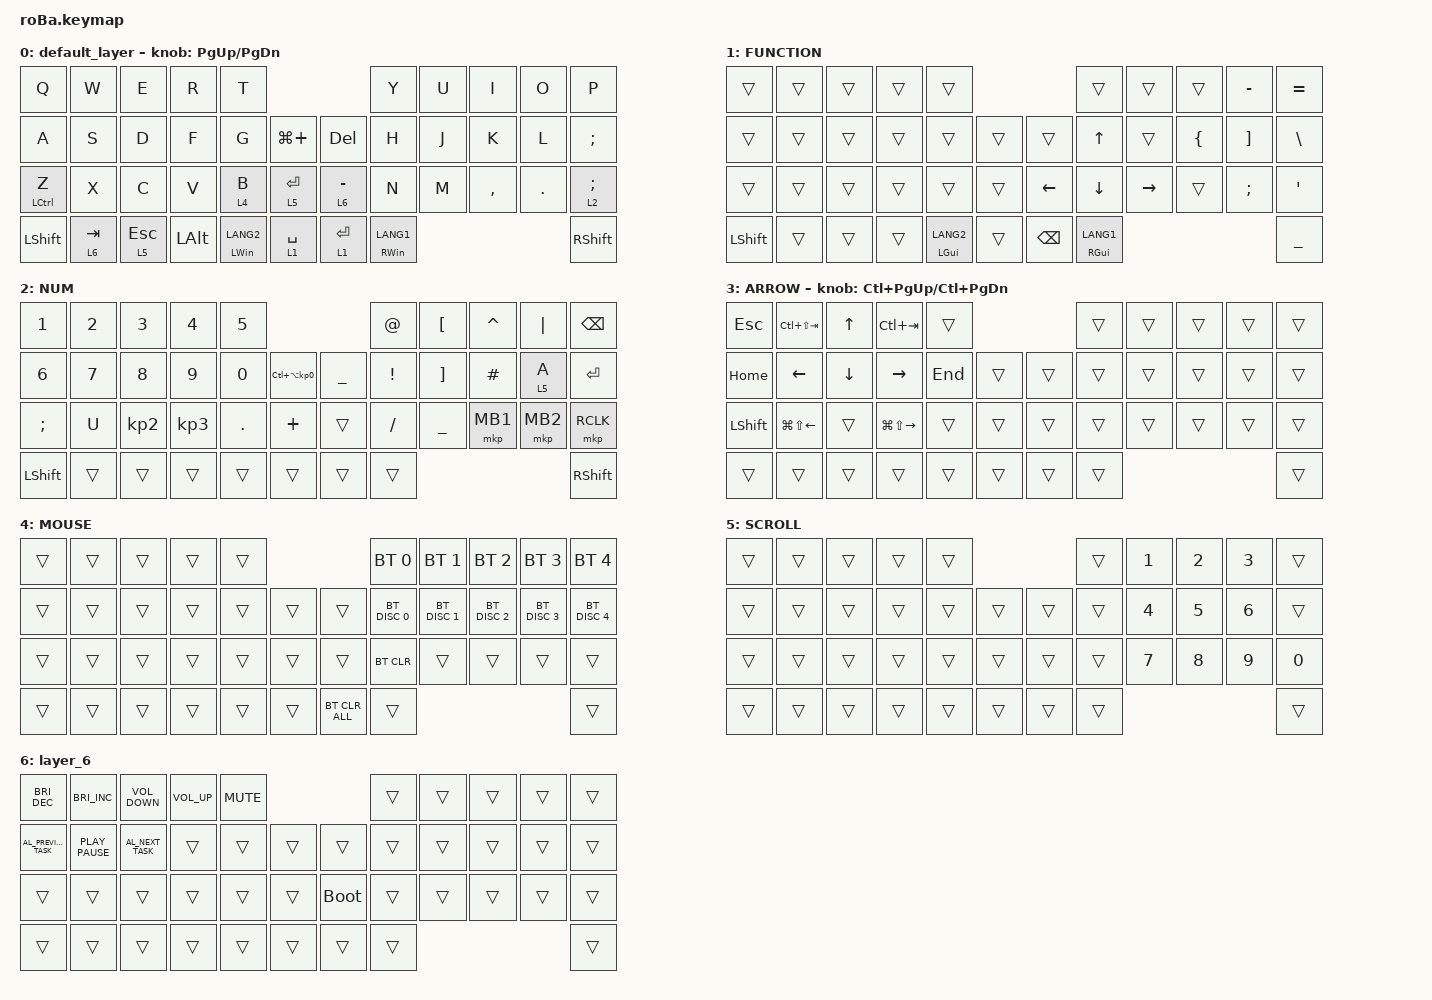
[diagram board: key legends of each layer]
#include <behaviors.dtsi>
#include <dt-bindings/zmk/bt.h>
#include <dt-bindings/zmk/keys.h>
#include <dt-bindings/zmk/pointing.h>

&mt {
    flavor = "balanced";
    quick-tap-ms = <0>;
};

&trackball {
    automouse-layer = <4>;
    scroll-layers = <5>;

    // arrows {
    //     layers = <3>;
    //     bindings =
    //         <&kp RIGHT_ARROW>,
    //         <&kp LEFT_ARROW>,
    //         <&kp UP_ARROW>,
    //         <&kp DOWN_ARROW>;
    //     tick = <10>;
    //     wait-ms = <5>;
    //     tap-ms = <5>;
    // };
};

/ {
    combos {
        compatible = "zmk,combos";

        tab {
            bindings = <&kp TAB>;
            key-positions = <11 12>;
        };

        shift_tab {
            bindings = <&kp LS(TAB)>;
            key-positions = <12 13>;
        };

        muhennkann {
            bindings = <&to_layer_0 INT_MUHENKAN>;
            key-positions = <11 10>;
        };

        double_quotation {
            bindings = <&kp DOUBLE_QUOTES>;
            key-positions = <20 21>;
        };

        eq {
            bindings = <&kp EQUAL>;
            key-positions = <24 25>;
        };
    };

    macros {
        to_layer_0: to_layer_0 {
            compatible = "zmk,behavior-macro-one-param";
            #binding-cells = <1>;
            bindings = <&to 0 &macro_param_1to1 &kp MACRO_PLACEHOLDER>;
            label = "TO_LAYER_0";
        };
    };

    behaviors {
        lt_to_layer_0: lt_to_layer_0 {
            compatible = "zmk,behavior-hold-tap";
            label = "LAYER_TAP_TO_0";
            bindings = <&mo>, <&to_layer_0>;

            #binding-cells = <2>;
            tapping-term-ms = <200>;
        };
    };

    keymap {
        compatible = "zmk,keymap";

        default_layer {
            bindings = <
&kp Q               &kp W      &kp E      &kp R         &kp T                                              &kp Y                &kp U  &kp I      &kp O    &kp P
&kp A               &kp S      &kp D      &kp F         &kp G               &kp LG(PLUS)      &kp DELETE   &kp H                &kp J  &kp K      &kp L    &kp SEMICOLON
&mt LEFT_CONTROL Z  &kp X      &kp C      &kp V         &lt 4 B             &lt 5 RET         &lt 6 MINUS  &kp N                &kp M  &kp COMMA  &kp DOT  &lt 2 SEMICOLON
&kp LEFT_SHIFT      &lt 6 TAB  &lt 5 ESC  &kp LEFT_ALT  &mt LEFT_WIN LANG2  &lt 1 SPACE       &lt 1 ENTER  &mt RIGHT_WIN LANG1                             &kp RIGHT_SHIFT
            >;

            sensor-bindings = <&inc_dec_kp PG_UP PAGE_DOWN>;
        };

        FUNCTION {
            bindings = <
&trans          &trans  &trans  &trans  &trans                                         &trans               &trans     &trans          &kp MINUS          &kp EQUAL
&trans          &trans  &trans  &trans  &trans              &trans      &trans         &kp UP               &trans     &kp LEFT_BRACE  &kp RIGHT_BRACKET  &kp BACKSLASH
&trans          &trans  &trans  &trans  &trans              &trans      &kp LEFT       &kp DOWN_ARROW       &kp RIGHT  &trans          &kp SEMICOLON      &kp APOS
&kp LEFT_SHIFT  &trans  &trans  &trans  &mt LEFT_GUI LANG2  &trans      &kp BACKSPACE  &mt RIGHT_GUI LANG1                                                &kp UNDERSCORE
            >;
        };

        NUM {
            bindings = <
&kp NUMBER_1    &kp NUMBER_2  &kp NUMBER_3     &kp NUMBER_4     &kp N5                                                   &kp AT_SIGN      &kp LEFT_BRACKET   &kp CARET  &kp PIPE  &kp BACKSPACE
&kp NUMBER_6    &kp N7        &kp N8           &kp N9           &kp N0      &kp LC(LA(KP_NUMBER_0))      &kp UNDERSCORE  &kp EXCLAMATION  &kp RIGHT_BRACKET  &kp HASH   &lt 5 A   &kp ENTER
&kp SEMICOLON   &kp U         &kp KP_NUMBER_2  &kp KP_NUMBER_3  &kp PERIOD  &kp PLUS                     &trans          &kp SLASH        &kp UNDERSCORE     &mkp MB1   &mkp MB2  &mkp RCLK
&kp LEFT_SHIFT  &trans        &trans           &trans           &trans      &trans                       &trans          &trans                                                   &kp RIGHT_SHIFT
            >;
        };

        ARROW {
            bindings = <
&kp ESCAPE      &kp LC(LS(TAB))         &kp UP_ARROW    &kp LC(TAB)              &trans                       &trans  &trans  &trans  &trans  &trans
&kp HOME        &kp LEFT_ARROW          &kp DOWN_ARROW  &kp RIGHT_ARROW          &kp END  &trans      &trans  &trans  &trans  &trans  &trans  &trans
&kp LEFT_SHIFT  &kp LG(LS(LEFT_ARROW))  &trans          &kp LG(LS(RIGHT_ARROW))  &trans   &trans      &trans  &trans  &trans  &trans  &trans  &trans
&trans          &trans                  &trans          &trans                   &trans   &trans      &trans  &trans                          &trans
            >;

            sensor-bindings = <&inc_dec_kp LC(PAGE_UP) LC(PAGE_DOWN)>;
        };

        MOUSE {
            bindings = <
&trans  &trans  &trans  &trans  &trans                              &bt BT_SEL 0   &bt BT_SEL 1   &bt BT_SEL 2   &bt BT_SEL 3   &bt BT_SEL 4
&trans  &trans  &trans  &trans  &trans  &trans      &trans          &bt BT_DISC 0  &bt BT_DISC 1  &bt BT_DISC 2  &bt BT_DISC 3  &bt BT_DISC 4
&trans  &trans  &trans  &trans  &trans  &trans      &trans          &bt BT_CLR     &trans         &trans         &trans         &trans
&trans  &trans  &trans  &trans  &trans  &trans      &bt BT_CLR_ALL  &trans                                                      &trans
            >;
        };

        SCROLL {
            bindings = <
&trans  &trans  &trans  &trans  &trans                      &trans  &kp NUMBER_1  &kp NUMBER_2  &kp NUMBER_3  &trans
&trans  &trans  &trans  &trans  &trans  &trans      &trans  &trans  &kp NUMBER_4  &kp N5        &kp NUMBER_6  &trans
&trans  &trans  &trans  &trans  &trans  &trans      &trans  &trans  &kp NUMBER_7  &kp NUMBER_8  &kp NUMBER_9  &kp NUMBER_0
&trans  &trans  &trans  &trans  &trans  &trans      &trans  &trans                                            &trans
            >;
        };

        layer_6 {
            bindings = <
&kp C_BRIGHTNESS_DEC    &kp C_BRIGHTNESS_INC  &kp K_VOLUME_DOWN   &kp C_VOLUME_UP  &kp K_MUTE                           &trans  &trans  &trans  &trans  &trans
&kp C_AL_PREVIOUS_TASK  &kp K_PLAY_PAUSE      &kp C_AL_NEXT_TASK  &trans           &trans      &trans      &trans       &trans  &trans  &trans  &trans  &trans
&trans                  &trans                &trans              &trans           &trans      &trans      &bootloader  &trans  &trans  &trans  &trans  &trans
&trans                  &trans                &trans              &trans           &trans      &trans      &trans       &trans                          &trans
            >;
        };
    };
};
